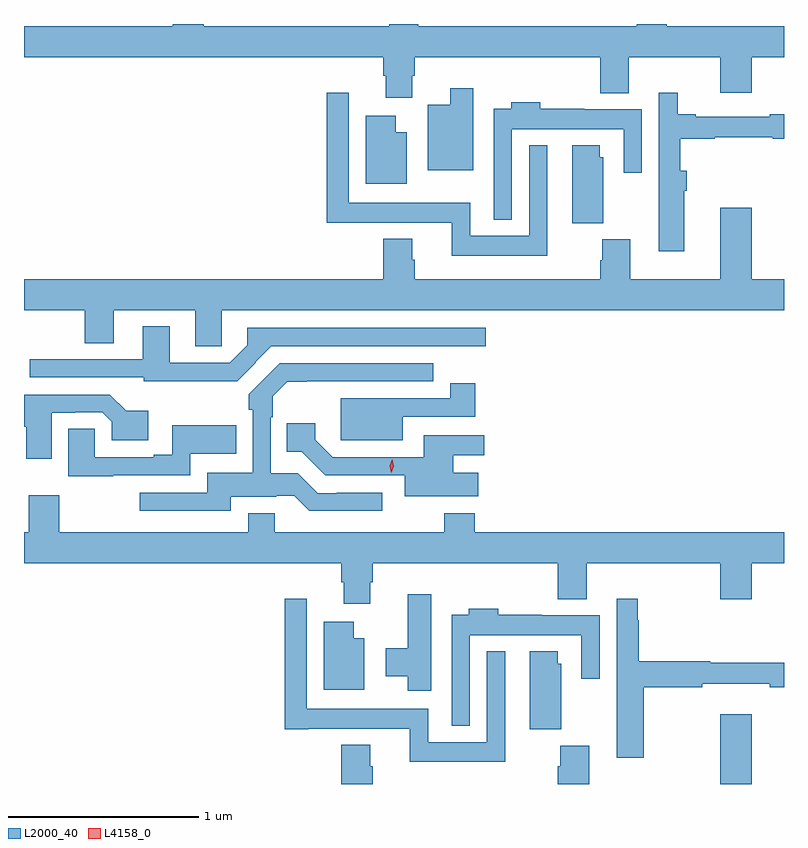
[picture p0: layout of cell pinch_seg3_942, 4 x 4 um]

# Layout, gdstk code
import gdstk
lib = gdstk.Library(unit=1e-6, precision=1e-09)
def R(c, l, rs):  # rectangles x0, y0, x1, y1
    for r in rs: c.add(gdstk.rectangle(r[:2], r[2:], *l))
def P(c, l, *ps):  # polygons
    for p in ps: c.add(gdstk.Polygon(p, *l))
L2000_40 = (2000, 40)
L4158_0 = (4158, 0)

pinch_seg3_942 = lib.new_cell('pinch_seg3_942')
R(pinch_seg3_942, L2000_40, [(548.624,706.415,548.788,706.783)])
P(pinch_seg3_942, L2000_40, [(547.003,710.142),(547.016,710.142),(547.016,710.24),(547.991,710.24),(547.991,710.051),(548.143,710.051),(548.143,710.24),(548.624,710.24),(548.624,710.052),(548.788,710.052),(548.788,710.24),(548.959,710.24),(548.959,710.404),(548.343,710.404),(548.343,710.415),(548.183,710.415),(548.183,710.404),(547.033,710.404),(547.033,710.415),(546.881,710.415),(546.881,710.404),(545.906,710.404),(545.906,710.415),(545.741,710.415),(545.741,710.404),(544.959,710.404),(544.959,710.24),(546.851,710.24),(546.851,710.142),(546.863,710.142),(546.863,710.028),(547.003,710.028)],
  [(547.324,710.077),(547.202,710.077),(547.202,709.99),(547.085,709.99),(547.085,709.646),(547.324,709.646)],
  [(547.714,709.777),(547.617,709.777),(547.617,709.3),(547.308,709.3),(547.308,709.474),(546.669,709.474),(546.669,710.053),(546.553,710.053),(546.553,709.368),(546.676,709.368),(546.676,709.37),(547.211,709.37),(547.211,709.196),(547.714,709.196)],
  [(548.434,709.538),(548.447,709.538),(548.447,709.642),(548.413,709.642),(548.413,709.81),(548.594,709.81),(548.594,709.818),(548.901,709.818),(548.901,709.81),(548.959,709.81),(548.959,709.939),(548.884,709.939),(548.884,709.926),(548.494,709.926),(548.494,709.939),(548.4,709.939),(548.4,710.053),(548.301,710.053),(548.301,709.538),(548.3,709.538),(548.3,709.218),(548.434,709.218)],
  [(547.527,709.862),(548.115,709.862),(548.115,709.632),(548.211,709.632),(548.211,709.966),(547.907,709.966),(547.907,709.969),(547.676,709.969),(547.676,710.002),(547.523,710.002),(547.523,709.969),(547.431,709.969),(547.431,709.385),(547.527,709.385)],
  [(546.973,709.846),(546.916,709.846),(546.916,709.933),(546.758,709.933),(546.758,709.574),(546.973,709.574)],
  [(548.008,709.713),(547.99,709.713),(547.99,709.777),(547.844,709.777),(547.844,709.366),(548.008,709.366)],
  [(546,708.908),(548.959,708.908),(548.959,709.072),(548.788,709.072),(548.788,709.447),(548.624,709.447),(548.624,709.072),(548.151,709.072),(548.151,709.281),(548.003,709.281),(548.003,709.172),(547.991,709.172),(547.991,709.072),(547.016,709.072),(547.016,709.173),(547.003,709.173),(547.003,709.285),(546.851,709.285),(546.851,709.072),(544.959,709.072),(544.959,708.908),(545.279,708.908),(545.279,708.736),(545.431,708.736),(545.431,708.908),(545.861,708.908),(545.861,708.718),(546,708.718)],
  [(546.179,708.632),(546.176,708.635),(546.261,708.72),(547.39,708.72),(547.39,708.816),(546.133,708.816),(546.133,708.724),(546.042,708.633),(545.725,708.633),(545.725,708.823),(545.585,708.823),(545.585,708.651),(544.989,708.651),(544.989,708.555),(545.589,708.555),(545.589,708.535),(546.081,708.535)],
  [(546.844,707.949),(546.604,707.949),(546.604,707.946),(546.504,707.946),(546.399,708.051),(546.258,708.051),(546.258,708.344),(546.268,708.344),(546.268,708.456),(546.344,708.532),(546.448,708.532),(546.448,708.534),(547.114,708.534),(547.114,708.63),(546.305,708.63),(546.142,708.467),(546.142,708.386),(546.162,708.386),(546.162,708.052),(545.924,708.052),(545.924,707.949),(545.568,707.949),(545.568,707.853),(546.046,707.853),(546.046,707.927),(546.287,707.927),(546.287,707.931),(546.381,707.931),(546.46,707.852),(546.844,707.852)],
  [(546.952,708.348),(547.333,708.348),(547.333,708.523),(547.202,708.523),(547.202,708.444),(546.848,708.444),(546.848,708.445),(546.626,708.445),(546.626,708.224),(546.952,708.224)],
  [(545.104,708.369),(545.228,708.369),(545.228,708.372),(545.37,708.372),(545.421,708.321),(545.421,708.224),(545.614,708.224),(545.614,708.379),(545.496,708.379),(545.41,708.465),(544.959,708.465),(544.959,708.296),(544.97,708.296),(544.97,708.126),(545.104,708.126)],
  [(547.351,708.052),(547.217,708.052),(547.217,708.146),(547.381,708.146),(547.381,708.25),(547.064,708.25),(547.064,708.135),(546.585,708.135),(546.493,708.227),(546.493,708.313),(546.343,708.313),(546.343,708.164),(546.42,708.164),(546.545,708.039),(546.962,708.039),(546.962,707.93),(547.351,707.93)],
  [(545.428,708.039),(545.835,708.039),(545.835,708.152),(546.077,708.152),(546.077,708.304),(545.739,708.304),(545.739,708.148),(545.642,708.148),(545.642,708.135),(545.331,708.135),(545.331,708.284),(545.192,708.284),(545.192,708.034),(545.428,708.034)],
  [(546.781,707.478),(546.794,707.478),(546.794,707.576),(547.769,707.576),(547.769,707.387),(547.921,707.387),(547.921,707.576),(548.624,707.576),(548.624,707.388),(548.788,707.388),(548.788,707.576),(548.959,707.576),(548.959,707.74),(547.331,707.74),(547.331,707.839),(547.171,707.839),(547.171,707.74),(546.28,707.74),(546.28,707.839),(546.14,707.839),(546.14,707.74),(545.145,707.74),(545.145,707.935),(544.985,707.935),(544.985,707.74),(544.959,707.74),(544.959,707.576),(546.629,707.576),(546.629,707.478),(546.641,707.478),(546.641,707.364),(546.781,707.364)],
  [(547.102,707.413),(546.98,707.413),(546.98,707.13),(546.863,707.13),(546.863,706.982),(546.98,706.982),(546.98,706.905),(547.102,706.905)],
  [(548.22,706.924),(548.528,706.924),(548.528,706.943),(548.884,706.943),(548.884,706.924),(548.959,706.924),(548.959,707.053),(548.572,707.053),(548.572,707.06),(548.195,707.06),(548.195,707.276),(548.188,707.276),(548.188,707.389),(548.079,707.389),(548.079,706.937),(548.078,706.937),(548.078,706.554),(548.22,706.554)],
  [(547.492,707.113),(547.395,707.113),(547.395,706.636),(547.086,706.636),(547.086,706.81),(546.447,706.81),(546.447,707.389),(546.331,707.389),(546.331,706.704),(546.454,706.704),(546.454,706.706),(546.989,706.706),(546.989,706.532),(547.492,706.532)],
  [(547.305,707.198),(547.893,707.198),(547.893,706.968),(547.989,706.968),(547.989,707.302),(547.685,707.302),(547.685,707.305),(547.454,707.305),(547.454,707.338),(547.301,707.338),(547.301,707.305),(547.209,707.305),(547.209,706.721),(547.305,706.721)],
  [(546.751,707.182),(546.694,707.182),(546.694,707.269),(546.536,707.269),(546.536,706.91),(546.751,706.91)],
  [(547.786,707.049),(547.768,707.049),(547.768,707.113),(547.622,707.113),(547.622,706.702),(547.786,706.702)],
  [(546.794,706.509),(546.781,706.509),(546.781,706.621),(546.629,706.621),(546.629,706.415),(546.794,706.415)],
  [(547.934,706.617),(547.781,706.617),(547.781,706.508),(547.769,706.508),(547.769,706.415),(547.934,706.415)])
P(pinch_seg3_942, L4158_0, [(546.891,708.052),(546.884,708.089),(546.897,708.124),(546.897,708.124),(546.897,708.124),(546.904,708.087),(546.892,708.052),(546.892,708.052)])

lib.write_gds('pinch_seg3_942.gds')
